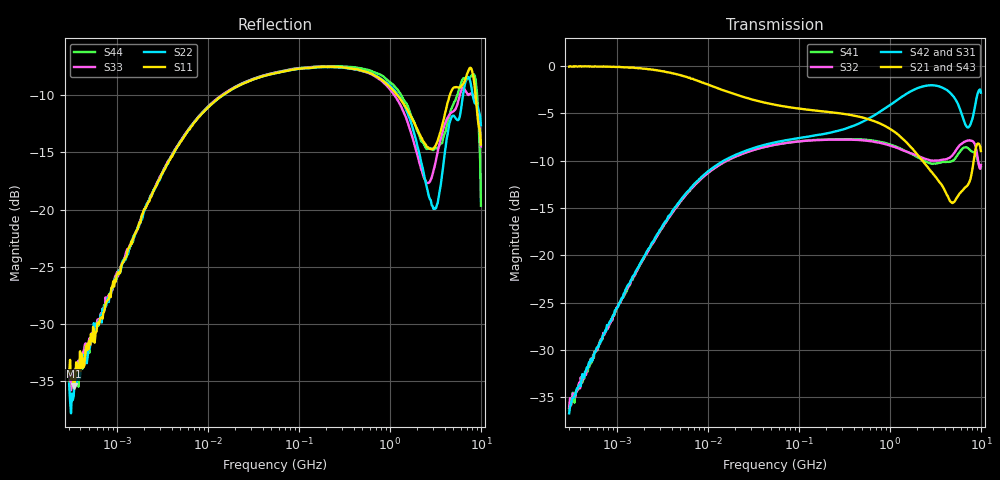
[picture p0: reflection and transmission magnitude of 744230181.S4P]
! This data is being provided by Wuerth Elektronik eiSos GmbH & Co. KG to the industry for analysis.
! Document information:
! Version:rev19a Date: 16/12/2019
! Component information:
! Match Code: WE-CNSW P/N: 744230181 Size: 0603
! Disclaimer:  While Würth Elektronik eiSos has made every reasonable effort to ensure the accuracy
! of the information provided, Würth Elektronik eiSos does not guarantee the exemption of error on the
! data collection measurements, nor does Würth Elektronik eiSos guarantee that the information is current.
! Würth Elektronik eiSos reserves the right to make any adjustments at any time without notice.
! Würth Elektronik eiSos expressly disclaims all implied warranties regarding this measurement data collection.
! Note 1  This data measurement is representative according to the product implementation into the fixture.
! Component behavior is sensitive to implementation into the fixture, which includes board
! materials, trace geometry information, connector pin out, layer connection, use of de-embedding
! techniques, etc.
! Note 2 - The fixture was designed specifically to match the 50 Ohm line impedance, as well as the connector impedance,
! in order to accomplish a reliable measurement without reflections in the trace. Any other implementation of the fixture will change the obtained
! measurement performance. The used fixture behavior was de-embedded to accomplish reliable measurement results.
! The test setup consisted of the following:
!  - Agilent VNA E5071C or E5071B
!  - Calibrations are SOLT (short open load thru)
!  - De-embedding of the SMA's or line cards were included
!  - Equipment Settings -
!  - Sampling - 501 points
!  - IF BW  70 kHz
!  - Averaging  Not used
!  Port 1----->|1|  |2| -----> Port 3
!  |  DUT  |
!  Port 2----->|3|  |4| -----> Port 4
!*VNA Port --> |Port in Datasheet|
! |Port in Datasheet| --> VNA Port
! For further information regarding this testing, please contact
! Wuerth Elektronik eiSos
! Contact: EDA team in QDC
! Email: libraries@we-online.com or libraries@we-online.de
# Hz S dB R 50
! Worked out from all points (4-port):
!   501 points, 300 kHz to 10 GHz, reference 50 ohm
!   strongest paths, dB at 300 kHz, 4.054 MHz, 54.77 MHz, 740.1 MHz, 10 GHz:
!     S21: -0.1, -0.8, -4.1, -6.0, -9.0
!     S43: 0.0, -0.8, -4.1, -6.0, -8.1
!     S42: -36.7, -15.3, -8.1, -5.0, -2.8
!     S31: -36.4, -15.4, -8.1, -4.9, -2.6
!     S32: -36.1, -15.5, -8.3, -8.1, -10.4
!     S41: -36.3, -15.5, -8.3, -8.0, -10.7
!   lowest |S11| = -35.4 dB at 336.7 kHz (marker M1), VSWR 1.03, Z = 50.3 + j1.67 ohm
!   |S11| at or under -10 dB: start of sweep to 14.82 MHz; 1.2 GHz to 4.569 GHz (3.369 GHz wide, 117 % of centre); 8.731 GHz to end of sweep
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300000  -34.30 77.1  -0.06 -1.1  -35.28 87.9  -35.64 -93.1
        -0.06 -0.9  -35.19 74.8  -35.88 -92.0  -35.95 92.5
        -36.37 87.0  -36.08 -92.4  -34.55 89.4  -0.05 -1.1
        -36.33 -96.1  -36.67 88.1  -0.04 -1.0  -34.58 74.3
336674  -35.42 78.9  -0.03 -1.0  -34.98 85.6  -35.03 -98.2
        -0.01 -1.0  -36.26 77.1  -34.89 -100.9  -34.32 86.4
        -34.82 88.0  -34.73 -93.1  -34.42 83.8  -0.09 -1.1
        -35.21 -99.8  -35.03 84.2  -0.04 -1.1  -34.10 68.6
2.304396e7  -9.11 21.9  -3.18 -12.3  -9.14 24.0  -9.32 -158.5
            -3.18 -12.3  -9.10 21.7  -9.33 -158.7  -9.14 23.9
            -9.15 24.0  -9.33 -158.6  -9.06 21.6  -3.21 -12.4
            -9.33 -158.4  -9.15 24.0  -3.21 -12.4  -9.06 21.8
7.739338e8  -8.56 -20.1  -6.06 -36.9  -4.79 13.6  -8.01 143.8
            -6.05 -36.9  -8.51 -25.6  -8.10 139.1  -4.84 14.4
            -4.78 13.6  -8.10 139.0  -8.65 -24.0  -6.10 -37.0
            -8.00 143.7  -4.83 14.5  -6.10 -37.0  -8.20 -20.7
3.084974e9  -14.59 1.4  -11.57 -103.5  -2.34 -16.7  -10.30 67.0
            -11.54 -103.5  -19.86 -17.4  -10.00 57.8  -2.05 -13.9
            -2.32 -16.8  -9.99 57.8  -16.32 -2.6  -11.78 -106.3
            -10.29 67.0  -2.04 -13.9  -11.80 -106.3  -14.64 -16.2
6.130148e9  -9.24 -4.3  -13.22 166.3  -5.30 -41.4  -8.84 -6.7
            -13.23 166.2  -10.95 -6.2  -8.20 -9.0  -5.02 -41.7
            -5.29 -41.6  -8.19 -9.2  -9.55 -10.6  -13.57 160.1
            -8.84 -6.9  -5.02 -41.7  -13.60 160.2  -8.86 -12.7
1e10  -14.33 -40.8  -9.04 44.9  -2.57 -55.7  -10.62 -159.1
      -8.97 44.5  -12.64 -53.9  -10.42 -134.2  -2.84 -50.4
      -2.59 -56.3  -10.44 -133.9  -14.51 -24.9  -8.11 39.3
      -10.66 -159.5  -2.81 -50.6  -8.08 39.6  -19.66 -66.4
